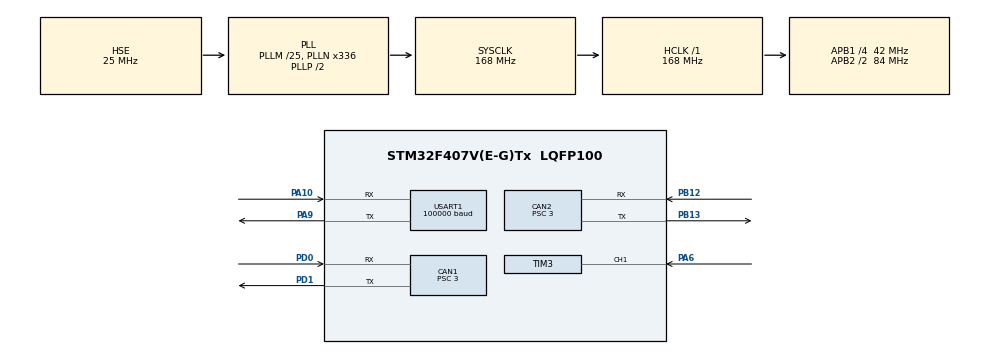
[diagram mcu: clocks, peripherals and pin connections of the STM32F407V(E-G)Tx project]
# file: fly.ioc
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CAN1.BS1=CAN_BS1_7TQ
CAN1.BS2=CAN_BS2_6TQ
CAN1.CalculateBaudRate=1000000
CAN1.CalculateTimeBit=1000
CAN1.CalculateTimeQuantum=71.42857142857143
CAN1.Prescaler=3
CAN2.BS1=CAN_BS1_7TQ
CAN2.BS2=CAN_BS2_6TQ
CAN2.CalculateBaudRate=1000000
CAN2.CalculateTimeBit=1000
CAN2.CalculateTimeQuantum=71.42857142857143
CAN2.Prescaler=3
Dma.Request0=USART1_RX
Dma.USART1_RX.0.Direction=DMA_PERIPH_TO_MEMORY
Dma.USART1_RX.0.FIFOMode=DMA_FIFOMODE_DISABLE
Dma.USART1_RX.0.Instance=DMA2_Stream5
Dma.USART1_RX.0.MemDataAlignment=DMA_MDATAALIGN_BYTE
Dma.USART1_RX.0.MemInc=DMA_MINC_ENABLE
Dma.USART1_RX.0.Mode=DMA_NORMAL
Dma.USART1_RX.0.PeriphDataAlignment=DMA_PDATAALIGN_BYTE
Dma.USART1_RX.0.PeriphInc=DMA_PINC_DISABLE
Dma.USART1_RX.0.Priority=DMA_PRIORITY_VERY_HIGH
FREERTOS.Tasks01=defaultTask,0,128,StartDefaultTask,Default,NULL,Dynamic,NULL,NULL;myTask02,-3,128,StartTask02,Default,NULL,Dynamic,NULL,NULL;myTask03,-3,128,StartTask03,Default,NULL,Dynamic,NULL,NULL;myTask04,-3,128,StartTask04,Default,NULL,Dynamic,NULL,NULL;myTask05,-3,128,StartTask05,Default,NULL,Dynamic,NULL,NULL
IWDG.Prescaler=IWDG_PRESCALER_32
IWDG.Reload=999
Mcu.Family=STM32F4
Mcu.Name=STM32F407V(E-G)Tx
Mcu.Package=LQFP100
NVIC.CAN1_RX0_IRQn=true\:5\:0\:false\:false\:true\:true\:true\:true\:true
NVIC.CAN1_RX1_IRQn=true\:5\:0\:false\:false\:true\:true\:true\:true\:true
NVIC.CAN1_SCE_IRQn=true\:5\:0\:false\:false\:true\:true\:true\:true\:true
NVIC.CAN1_TX_IRQn=true\:5\:0\:false\:false\:true\:true\:true\:true\:true
NVIC.CAN2_RX0_IRQn=true\:5\:0\:false\:false\:true\:true\:true\:true\:true
NVIC.CAN2_RX1_IRQn=true\:5\:0\:false\:false\:true\:true\:true\:true\:true
NVIC.CAN2_TX_IRQn=true\:5\:0\:false\:false\:true\:true\:true\:true\:true
NVIC.DMA2_Stream5_IRQn=true\:5\:0\:false\:false\:true\:false\:false\:true\:true
NVIC.PriorityGroup=NVIC_PRIORITYGROUP_4
NVIC.RCC_IRQn=true\:5\:0\:false\:false\:true\:true\:true\:false\:true
NVIC.TIM1_UP_TIM10_IRQn=true\:15\:0\:false\:false\:true\:false\:false\:true\:true
NVIC.TIM3_IRQn=true\:5\:0\:false\:false\:true\:true\:true\:true\:true
NVIC.TimeBase=TIM1_UP_TIM10_IRQn
NVIC.TimeBaseIP=TIM1
NVIC.USART1_IRQn=true\:5\:0\:false\:false\:true\:true\:true\:true\:true
PA10.Mode=Asynchronous
PA10.Signal=USART1_RX
PA13.Mode=Serial_Wire
PA13.Signal=SYS_JTMS-SWDIO
PA14.Mode=Serial_Wire
PA14.Signal=SYS_JTCK-SWCLK
PA6.Signal=S_TIM3_CH1
PA9.Mode=Asynchronous
PA9.Signal=USART1_TX
PB12.Mode=CAN_Activate
PB12.Signal=CAN2_RX
PB13.Mode=CAN_Activate
PB13.Signal=CAN2_TX
PD0.Mode=CAN_Activate
PD0.Signal=CAN1_RX
PD1.Mode=CAN_Activate
PD1.Signal=CAN1_TX
PH0-OSC_IN.Mode=HSE-External-Oscillator
PH0-OSC_IN.Signal=RCC_OSC_IN
PH1-OSC_OUT.Mode=HSE-External-Oscillator
PH1-OSC_OUT.Signal=RCC_OSC_OUT
ProjectManager.HeapSize=0x200
ProjectManager.StackSize=0x400
ProjectManager.TargetToolchain=MDK-ARM V5.32
RCC.48MHZClocksFreq_Value=84000000
RCC.AHBFreq_Value=168000000
RCC.APB1CLKDivider=RCC_HCLK_DIV4
RCC.APB1Freq_Value=42000000
RCC.APB1TimFreq_Value=84000000
RCC.APB2CLKDivider=RCC_HCLK_DIV2
RCC.APB2Freq_Value=84000000
RCC.APB2TimFreq_Value=168000000
RCC.CortexFreq_Value=168000000
RCC.HCLKFreq_Value=168000000
RCC.HSE_VALUE=25000000
RCC.HSI_VALUE=16000000
RCC.LSE_VALUE=32768
RCC.PLLM=25
RCC.PLLN=336
RCC.PLLSourceVirtual=RCC_PLLSOURCE_HSE
RCC.SYSCLKFreq_VALUE=168000000
RCC.SYSCLKSource=RCC_SYSCLKSOURCE_PLLCLK
RCC.VCOOutputFreq_Value=336000000
SH.S_TIM3_CH1.0=TIM3_CH1,Input_Capture1_from_TI1
TIM3.Channel-Input_Capture1_from_TI1=TIM_CHANNEL_1
TIM3.Prescaler=840-1
USART1.BaudRate=100000
USART1.Mode=MODE_RX
USART1.Parity=PARITY_EVEN
USART1.VirtualMode=VM_ASYNC
USART1.WordLength=WORDLENGTH_9B
VP_FREERTOS_VS_CMSIS_V1.Mode=CMSIS_V1
VP_IWDG_VS_IWDG.Mode=IWDG_Activate
VP_SYS_VS_tim1.Mode=TIM1
VP_TIM3_VS_ClockSourceINT.Mode=Internal
board=custom

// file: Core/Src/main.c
/* USER CODE BEGIN Header */
/**
  ******************************************************************************
  * @file           : main.c
  * @brief          : Main program body
  ******************************************************************************
  * @attention
  *
  * Copyright (c) 2025 STMicroelectronics.
  * All rights reserved.
  *
  * This software is licensed under terms that can be found in the LICENSE file
  * in the root directory of this software component.
  * If no LICENSE file comes with this software, it is provided AS-IS.
  *
  ******************************************************************************
  */
/* USER CODE END Header */
#include "main.h"
#include "cmsis_os.h"
#include "can.h"
#include "dma.h"
#include "iwdg.h"
#include "tim.h"
#include "usart.h"
#include "gpio.h"

/* USER CODE BEGIN Includes */
#include "math.h"
#include "string.h"
#include "cmsis_os.h"
#define GM3508_SPEED_GEAR1 200
#define GM3508_SPEED_GEAR2 200
#define DIANJI_ID  0x209
#define DIAN_ANGLE  90.0f
#define PID_LIMIT    4000
#define ANGLE_DEADZONE  3.0f      // 角度控制死区
#define SPEED_DEADZONE 7        // 速度控制死区
#define BLOCK 9000  // 堵转检测条件
#define CORRECT  0.5f   // 堵转纠正
#define TASK_HEARTBEAT_TIMEOUT_MS   2000    // 任务心跳超时时间(毫秒)
#define WATCHDOG_TASK_DELAY_MS      500     // 监视任务检查间隔
#define RC_CH0_MIN        364U         // ch0最小値
#define RC_CH0_MAX        1684U        // ch0最大値
#define RC_CH0_MID        1024U        // ch0中点値
#define RC_CH0_DEAD_ZONE  20U          // ch0死区
/* USER CODE END Includes */

/* USER CODE BEGIN PTD */
CAN_RxHeaderTypeDef RxMsg={0};
struct recept{

int16_t angle;
int16_t  speed ;
int16_t  i;
uint16_t temp ;

};
struct recept recept1={
  .angle=0,
	.speed=0,
	.i=0,
	.temp=0
};
struct recept recept2={
  .angle=0,
	.speed=0,
	.i=0,
	.temp=0
};
struct recept recept3={
  .angle=0,
	.speed=0,
	.i=0,
	.temp=0
};
typedef struct {
    // 基础参数
    float base_Kp;             // 基准比例增益
    float base_Ki;             // 基准积分增益
    float base_Kd;             // 基准微分增益

    // 速度区域边界 (RPM)
    float speed_low_threshold;   // 低速区上限 (500 RPM)
    float speed_mid_threshold;   // 中速区上限 (2000 RPM)
    float speed_high_threshold;  // 高速区上限 (5000 RPM)

    // 误差区域边界 (RPM)
    float error_small_threshold; // 小误差区上限 (100 RPM)
    float error_medium_threshold;// 中等误差区上限 (500 RPM)

    // 速度区域参数调整系数
    float low_speed_kp_factor;   // 低速区K
    float low_speed_ki_factor;
    float low_speed_kd_factor;

    float high_speed_kp_factor;  // 高速区
    float high_speed_ki_factor;
    float high_speed_kd_factor;

    float very_high_speed_kp_factor;  // 极高速区
    float very_high_speed_ki_factor;
    float very_high_speed_kd_factor;

    // 误差区域参数调整系数
    float large_error_kp_factor; // 大误差区Kp调整系数
    float large_error_ki_factor;
    float large_error_kd_factor;

    float small_error_kp_factor; // 小误差区调整系数
    float small_error_ki_factor;
    float small_error_kd_factor;

    // 参数平滑滤波
    float prev_Kp;
    float prev_Ki;
    float prev_Kd;
    float Kp;                // 当前比例增益
    float Ki;                // 当前积分增益
    float Kd;                // 当前微分增益
    float setpoint;          // 目标设定值
    float integral;          // 积分项
    float derivative;        // 微分项
    float output_limit;      // 输出限幅
    float prev_measured_value; // 上一周期测量值
    float dt;                // 控制周期（秒）
} PID_Controller_f;

typedef __packed struct {
    uint16_t ch0;  // 遥控器
    uint16_t ch1;
    uint16_t ch2;
	  uint16_t ch3;
    uint8_t  s1;
    uint8_t  s2;
	uint16_t roll;

} DBUS_RC_t;
typedef __packed struct {
    int16_t x;     // 鼠标X轴
    int16_t y;     // 鼠标Y轴
    int16_t z;     // 鼠标Z轴
    uint8_t press_l;// 鼠标左键
    uint8_t press_r;// 鼠标右键
} DBUS_Mouse_t;

typedef __packed struct {
    uint16_t v;    // 键盘按键值（Bit0=W, Bit1=S...Bit7=Ctrl）
} DBUS_Key_t;
int16_t output_gm6020=0;
int16_t output_m2006=0;

uint8_t rx_data[8]={0};
uint8_t  send_data[8]={0};
uint8_t rx_data2[8]={0};

DBUS_RC_t g_dbus_rc = {0};
DBUS_Mouse_t g_dbus_mouse = {0};            // 鼠标数据
DBUS_Key_t g_dbus_key = {0};

uint16_t gm6020_current_target_angle = (192 + 6557) / 2;
uint32_t rc_last_heartbeat = 0;  // 遥控器最后一次心跳时间

uint8_t rc_online_flag = 1;

uint8_t g_dbus_rx_buf[18] = {0};
uint8_t g_dbus_idx = 0;                 // DBUS缓冲索引
int16_t m2006_target_speed = 300;
int16_t m2006_max_speed = 1000;
uint8_t m2006_direction = 1; //方向

int16_t gm3508_motor1_output = 0; // 电机1输出
int16_t gm3508_motor2_output = 0; // 电机2输出
uint16_t gm3508_target_speed = 0;
typedef enum {
    TASK_ID_DEFAULT,
    TASK_ID_MYTASK02,
    TASK_ID_MYTASK03,
    TASK_ID_MAX
} TaskID;
typedef struct {
    TaskID id;
    const char* name;
    uint32_t last_heartbeat;
    uint32_t timeout_ms;
    uint8_t is_active;
} TaskMonitor;

typedef struct {
    float rin;        // 当前设定值
    float lastRin;    // 上一次设定值
    float perrRin;  	// 前两次设定值变化
    int init_count;//初始化转台
} FFC;

typedef struct
{
    float Kp;       // 比例系数
    float Ki;       // 积分系数
    float Kd;
    float Kf_a;
    float Kf_v;
    float setpoint; // 设定值
    float integral; // 积分项
	  float derivative;//
    float prev_error; // 上一次误差
	  float output_limit; // 输出限幅
	  float prev_prev_error;
	  float last_output;
	  float dt;        // 控制周期
   float prev_measured_value; // 存储上一测量值

	  FFC feedforward;
} PID_Controller;

PID_Controller pid_controller = {
	  .Kp = 46.0f,
    .Ki =1.8f,
    .Kd =1.0f,
	.Kf_a=0.05,
	.Kf_v=0.5,
    .setpoint = 10.0f,
    .integral = 0.0f,
    .prev_error = 0.0f,
	  .dt=0.001f,
	  .last_output=0.0,
	  .prev_prev_error=0.0f,

    .output_limit = 6000.0f};
PID_Controller angle_pid_controller = {
    .Kp =50.0f,
    .Ki = 3.0f,
    .Kd = 5.0f,
		.Kf_a=0.01,
	  .Kf_v=0.1,
    .setpoint =1000.0f,
    .integral = 0.0f,
    .prev_error = 0.0f,
	  .prev_prev_error=0.0f,
	.dt=0.001f,
	  .last_output=0.0,

    .output_limit =6000.0f // 输出限幅
};
PID_Controller current_pid = {
    .Kp =1.6f,
    .Ki = 0.02f,
    .Kd =1.0,
		.Kf_a=0.05,
    .Kf_v=0.5,
    .setpoint = 0.0f,
    .integral = 0.0f,
    .prev_error = 0.0f,
	  .prev_prev_error=0.0f,
	  .dt=0.001f,
	  .last_output=0.0,
    .output_limit = 6000.0f
};

PID_Controller pid_controller_m2006 = {
	  .Kp = 3.0f,
    .Ki =0.1f,
    .Kd =0.8,
	  .Kf_a=0.0,
	  .Kf_v=0.0,
    .setpoint = 100.0f,
    .integral = 0.0f,
    .prev_error = 0.0f,
	  .dt=0.001f,
	  .last_output=0.0,
	  .prev_prev_error=0.0f,

    .output_limit = 6000.0f};
PID_Controller current_pid_m2006 = {
    .Kp =2.0f,
    .Ki = 0.2f,
    .Kd =0.9f,
		.Kf_a=0.00,
    .Kf_v=0.0,
    .setpoint = 0.0f,
    .integral = 0.0f,
    .prev_error = 0.0f,
	  .prev_prev_error=0.0f,
	  .dt=0.001f,
	  .last_output=0.0,
    .output_limit = 6000.0f
};
PID_Controller gm3508_speed_pid = {
    .Kp = 8.0f,
    .Ki = 0.2f,
    .Kd = 0.5f,
    .setpoint = 0.0f,
    .integral = 0.0f,
    .prev_error = 0.0f,
    .output_limit = 6000.0,
    .dt = 0.001
};

PID_Controller gm3508_current_pid = {
    .Kp = 1.5f,
    .Ki = 0.05f,
    .Kd = 0.8f,
    .setpoint = 0.0f,
    .integral = 0.0f,
    .prev_error = 0.0f,
    .output_limit = 6000.0,
    .dt = 0.001
};
uint16_t mode=1;//0速度，1角度

uint8_t  send[8]={0};//can1,gm6020发送区
uint8_t  send2[8]={0};//can2,m2006发送区
uint8_t send3[8]={0};//3508发射区
uint8_t send4[8]={0};
// 状态：正常、堵转检测中、回退、恢复尝试
typedef enum {
    NORMAL,
   JAMMED,
   BACKOFF,
    RECOVERING
} MotorState;

MotorState motor_state =NORMAL;
uint32_t start_time = 0;
float back_angle = 100.0f;        // 回退角度（度）
float reangle = 100.0f;      // 恢复时尝试正转的角度
float raw_speed= 0;// 保存原始目标速度
float current_position = 0.0f;    // 当前位置
float start_position = 0.0f;      // 记录开始位置
uint8_t jam_recount = 0;   // 堵塞恢复尝试次数
uint8_t max= 3;      // 最多重试
float m2006_filtered_speed = 0.0f;
static TaskMonitor task_monitors[TASK_ID_MAX];

/* USER CODE END PTD */

/* USER CODE BEGIN PD */
void Watchdog_Init(void);
void Watchdog_Heartbeat(TaskID task_id);
void Watchdog_FeedHardware(void);
void StartWatchdogTask(void const * argument);
void Can_SendMsg(CAN_HandleTypeDef *hcan,uint32_t ID,uint8_t *data)
{
   uint32_t canTxMailbox;
	CAN_TxHeaderTypeDef CAN_TX;
	CAN_TX.DLC=8;
	CAN_TX.IDE=CAN_ID_STD;
	CAN_TX.RTR=CAN_RTR_DATA;
  CAN_TX.StdId=ID;

	if ((hcan->Instance->TSR&CAN_TSR_TME1)!=RESET){
	canTxMailbox=CAN_TX_MAILBOX1;
	}
	else if ((hcan->Instance->TSR&CAN_TSR_TME2)!=RESET){
		canTxMailbox=CAN_TX_MAILBOX2;
	}
	else if ((hcan->Instance->TSR&CAN_TSR_TME0)!=RESET){
		canTxMailbox=CAN_TX_MAILBOX0;
	}

	HAL_CAN_AddTxMessage(hcan,&CAN_TX,data,(uint32_t*)&canTxMailbox);

}
void CAN_Filter_Init(CAN_HandleTypeDef *hcan)
{

	 if (hcan->Instance == CAN1) {

		 CAN_FilterTypeDef FilterConfig;
        FilterConfig.FilterBank = 0;
        FilterConfig.FilterMode = CAN_FILTERMODE_IDMASK;
        FilterConfig.FilterScale = CAN_FILTERSCALE_32BIT;
        FilterConfig.FilterIdHigh = 0x0000;
        FilterConfig.FilterIdLow = 0x0000;
        FilterConfig.FilterMaskIdHigh = 0x0000;
        FilterConfig.FilterMaskIdLow = 0x0000;
        FilterConfig.FilterFIFOAssignment = CAN_FilterFIFO0;
        FilterConfig.FilterActivation = CAN_FILTER_ENABLE;
        FilterConfig.SlaveStartFilterBank = 14;
		 HAL_CAN_ConfigFilter(hcan, &FilterConfig);
    HAL_CAN_Start(hcan);
    } else if (hcan->Instance == CAN2) {
    CAN_FilterTypeDef FilterConfig2;
        FilterConfig2.FilterBank = 14;
        FilterConfig2.FilterMode = CAN_FILTERMODE_IDMASK;
        FilterConfig2.FilterScale = CAN_FILTERSCALE_32BIT;
        FilterConfig2.FilterIdHigh =0x0000 ;
        FilterConfig2.FilterIdLow = 0x0000;
        FilterConfig2.FilterMaskIdHigh = 0x0000;
        FilterConfig2.FilterMaskIdLow = 0x0000;
        FilterConfig2.FilterFIFOAssignment = CAN_FilterFIFO1;
        FilterConfig2.FilterActivation = CAN_FILTER_ENABLE;
        FilterConfig2.SlaveStartFilterBank = 14;
			HAL_CAN_ConfigFilter(hcan, &FilterConfig2);
    HAL_CAN_Start(hcan);
    }

}
void FFC_Init(FFC *ffc, float initial_setpoint) {
    ffc->rin = initial_setpoint;
    ffc->lastRin = initial_setpoint;
    ffc->perrRin = initial_setpoint;
    ffc->init_count = 0;
}
float fconstrain(float val, float min, float max) {
    return (val < min) ? min : (val > max) ? max : val;
}
float FeedforwardController(FFC *vFFC, float Kf_v, float Kf_a, float dt) {
    float result = 0.0f;
    if (vFFC->init_count < 1) {

        result = 0.0f;
    } else if (vFFC->init_count < 2) {

        result = Kf_v * (vFFC->rin - vFFC->lastRin) / dt;
    } else {
        // 使用完整前馈
        result = Kf_v * (vFFC->rin - vFFC->lastRin) / dt
               + Kf_a * (vFFC->rin - 2*vFFC->lastRin + vFFC->perrRin) / (dt*dt);
    }
    vFFC->perrRin = vFFC->lastRin;
    vFFC->lastRin = vFFC->rin;

    if (vFFC->init_count < 2) {
        vFFC->init_count++;
    }
    return result;
}

float error;
float output;
	float  angle_continuous=0;
float PID_Compute_local(PID_Controller *pid, float measured_value) //前馈位置
{       pid->feedforward.rin =pid->setpoint;
    float feedforward = FeedforwardController(
			&pid->feedforward,
		pid->Kf_v,
		pid->Kf_a,
		pid->dt);

	error = pid->setpoint - measured_value; // 计算误差

    if((mode == 1 && fabs(error) < ANGLE_DEADZONE) ||
       (mode == 0 && fabs(error) < SPEED_DEADZONE))
    {
        error = 0;
        pid->integral *= 0.99f; // 积分衰减
    }
    else
    {
        // 积分项计算与限幅

        pid->integral += error;

        if (pid->integral > pid->output_limit / pid->Ki)
            pid->integral = pid->output_limit / pid->Ki;
        else if (pid->integral < -pid->output_limit / pid->Ki)
            pid->integral = -pid->output_limit / pid->Ki;
    }

    pid->derivative = 0.7f * pid->derivative + 0.3f * (error - pid->prev_error);
   pid->prev_error = error;
    float output = pid->Kp * error +
                   pid->Ki * pid->integral +
                   pid->Kd * pid->derivative;

    // 输出限幅
    if(output > pid->output_limit)
        output = pid->output_limit;
    else if(output < -pid->output_limit)
        output = -pid->output_limit;
    return output;
	}
float PID_Compute_First(PID_Controller *pid, float measured_value) {
    float error = pid->setpoint - measured_value;

    // 计算测量值的变化率，核心
    float y_diff = measured_value - pid->prev_measured_value;
    pid->derivative = 0.7f * pid->derivative + 0.3f * y_diff;
//一节滤波，
    pid->prev_measured_value = measured_value;

    float proportional = pid->Kp * error;
    float derivative_term = -pid->Kd * pid->derivative; // 注意负号

    float output_without_integral = proportional + derivative_term;
    int should_integrate = 1;
    float saturation_threshold = pid->output_limit * 0.95f;

    // 检查是否达到输出限幅且误差方向同向
    if (output_without_integral >= saturation_threshold && error > 0) {
        should_integrate = 0;
    }
    else if (output_without_integral <= -saturation_threshold && error < 0) {
        should_integrate = 0;
    }

    if (should_integrate  != 0.0f) {

        pid->integral += error * pid->dt;
    } else {
        pid->integral += error * pid->dt * 0.2f;
    }
    float max_integral = pid->output_limit / (pid->Ki * 1.2f);
    if (pid->integral > max_integral)
        pid->integral = max_integral;
    else if (pid->integral < -max_integral)
        pid->integral = -max_integral;
//积分限制
    float output = proportional + (pid->Ki * pid->integral) +derivative_term;
    if(output > pid->output_limit)
        output = pid->output_limit;
    else if(output < -pid->output_limit)
        output = -pid->output_limit;

    return output;
}

	float PID_Compute_add(PID_Controller *pid, float measured_value) //增量
{
    float error = pid->setpoint - measured_value;
    if((mode == 1 && fabs(error) < ANGLE_DEADZONE) ||
       (mode == 0 && fabs(error) < SPEED_DEADZONE))
    {
        error = 0;

        pid->derivative = 0;
        pid->prev_error = 0;
        pid->prev_prev_error = 0;
        return pid->last_output; // 死区时保持上次输出
    }
    else{// 误差增量
    float delta_error = error - pid->prev_error;
    float delta_error2 = error - 2 * pid->prev_error + pid->prev_prev_error;
    pid->derivative = 0.7f * pid->derivative + 0.3f * delta_error;

    // 增量式PID公式：Δu = Kp*Δe + Ki*e + Kd*Δe2
    float delta_output = pid->Kp * delta_error +
                        pid->Ki * error +
                        pid->Kd * delta_error2;

    float output = pid->last_output + delta_output;
    if(output > pid->output_limit)
        output = pid->output_limit;
    else if(output < -pid->output_limit)
        output = -pid->output_limit;
    pid->prev_prev_error = pid->prev_error;
    pid->prev_error = error;
    pid->last_output = output;

    return output;}
}
float PID_Compute_full(PID_Controller *pid, float measured_value)
{ float error = pid->setpoint - measured_value;

    if((mode == 1 && fabs(error) < ANGLE_DEADZONE) ||
       (mode == 0 && fabs(error) < SPEED_DEADZONE))
    {
        error = 0;
        pid->integral *= 0.99f;
    }
    else
    {

          float error_diff = error - pid->prev_error;
    pid->derivative = 0.7f * pid->derivative + 0.3f * error_diff;
    pid->prev_error = error;
            float proportional = pid->Kp * error;
    float derivative_term = pid->Kd * pid->derivative;
		float 	output_without_integral=proportional + derivative_term;
        // 2. 判断是否需要削弱积分
        int should_integrate = 1;

        if (output_without_integral >= pid->output_limit && error > 0) {
            // 已达上限且误差为正
            should_integrate = 0;
        }
        else if (output_without_integral <= -pid->output_limit && error < 0) {
            // 已达下限且误差为负
            should_integrate = 0;
        }
        if (should_integrate) {
            // 正常积分
            pid->integral += error * pid->dt;
        }
        else {

            pid->integral += error * pid->dt * 0.2f; // 部分积分作用

        }
        float max_integral = pid->output_limit / pid->Ki;
        if (pid->integral > max_integral)
            pid->integral = max_integral;
        else if (pid->integral < -max_integral)
            pid->integral = -max_integral;
    }

    float output = pid->Kp * error +
                   pid->Ki * pid->integral +
                   pid->Kd * pid->derivative ;

    if(output > pid->output_limit)
        output = pid->output_limit;
    else if(output < -pid->output_limit)
        output = -pid->output_limit;

    return output;
}
 float calculate_transition_weight(float value, float lower_bound, float upper_bound) {
    if (value <= lower_bound) return 0.0f;
    if (value >= upper_bound) return 1.0f;

    // 在过渡区域内线性插值
    return (value - lower_bound) / (upper_bound - lower_bound);
}

float PID_Compute_SegmentedVS(PID_Controller_f *pid, float measured_value) {
    // 1. 计算误差
    float error = pid->setpoint - measured_value;
    float abs_error = fabsf(error);
    float abs_speed = fabsf(measured_value);
    // 重置当前参数为基准值
    float current_Kp = pid->base_Kp;
    float current_Ki = pid->base_Ki;
    float current_Kd = pid->base_Kd;

    // 定义过渡区域（边界±50 RPM）
    const float SPEED_TRANSITION = 50.0f;

    // 低速区判定 (0 - speed_low_threshold)
    if (abs_speed < pid->speed_low_threshold) {
        current_Kp *= pid->low_speed_kp_factor;
        current_Ki *= pid->low_speed_ki_factor;
        current_Kd *= pid->low_speed_kd_factor;
    }
    // 低速-中速过渡区
    else if (abs_speed < pid->speed_low_threshold + SPEED_TRANSITION) {
        float weight = calculate_transition_weight(
            abs_speed,
            pid->speed_low_threshold,
            pid->speed_low_threshold + SPEED_TRANSITION
        );

        // 线性插值
        current_Kp = pid->base_Kp * (
            pid->low_speed_kp_factor * (1.0f - weight) +
            weight
        );
        current_Ki = pid->base_Ki * (
            pid->low_speed_ki_factor * (1.0f - weight) +
            weight
        );
        current_Kd = pid->base_Kd * (
            pid->low_speed_kd_factor * (1.0f - weight) +
            weight
        );
    }
    // 中速区判定 (speed_low_threshold - speed_mid_threshold)
    else if (abs_speed < pid->speed_mid_threshold) {
        // 中速区使用基准参数（已初始化）
    }
    // 中速-高速过渡区
    else if (abs_speed < pid->speed_mid_threshold + SPEED_TRANSITION) {
        float weight = calculate_transition_weight(
            abs_speed,
            pid->speed_mid_threshold,
            pid->speed_mid_threshold + SPEED_TRANSITION
        );

        // 线性插值
        current_Kp = pid->base_Kp * (
            1.0f * (1.0f - weight) +
            pid->high_speed_kp_factor * weight
        );
        current_Ki = pid->base_Ki * (
            1.0f * (1.0f - weight) +
            pid->high_speed_ki_factor * weight
        );
        current_Kd = pid->base_Kd * (
            1.0f * (1.0f - weight) +
            pid->high_speed_kd_factor * weight
        );
    }
    // 高速区判定 (speed_mid_threshold - speed_high_threshold)
    else if (abs_speed < pid->speed_high_threshold) {
        current_Kp *= pid->high_speed_kp_factor;
        current_Ki *= pid->high_speed_ki_factor;
        current_Kd *= pid->high_speed_kd_factor;
    }
    // 高速-极高速过渡区
    else if (abs_speed < pid->speed_high_threshold + SPEED_TRANSITION) {
        float weight = calculate_transition_weight(
            abs_speed,
            pid->speed_high_threshold,
            pid->speed_high_threshold + SPEED_TRANSITION
        );

        // 线性插值
        current_Kp = pid->base_Kp * (
            pid->high_speed_kp_factor * (1.0f - weight) +
            pid->very_high_speed_kp_factor * weight
        );
        current_Ki = pid->base_Ki * (
            pid->high_speed_ki_factor * (1.0f - weight) +
            pid->very_high_speed_ki_factor * weight
        );
        current_Kd = pid->base_Kd * (
            pid->high_speed_kd_factor * (1.0f - weight) +
            pid->very_high_speed_kd_factor * weight
        );
    }
    // 极高速区判定 (> speed_high_threshold)
    else {
        current_Kp *= pid->very_high_speed_kp_factor;
        current_Ki *= pid->very_high_speed_ki_factor;
        current_Kd *= pid->very_high_speed_kd_factor;
    }

    // ===== 2. 基于误差的参数调整（叠加效果）=====
    const float ERROR_TRANSITION = 30.0f;

    // 大误差区判定 (> error_medium_threshold)
    if (abs_error > pid->error_medium_threshold) {
        current_Kp *= pid->large_error_kp_factor;
        current_Ki *= pid->large_error_ki_factor;
        current_Kd *= pid->large_error_kd_factor;
    }
    // 大-中误差过渡区
    else if (abs_error > pid->error_medium_threshold - ERROR_TRANSITION) {
        float weight = calculate_transition_weight(
            pid->error_medium_threshold - abs_error,
            0.0f,
            ERROR_TRANSITION
        );

        // 线性插值
        float kp_factor = pid->large_error_kp_factor * (1.0f - weight) + weight;
        float ki_factor = pid->large_error_ki_factor * (1.0f - weight) + weight;
        float kd_factor = pid->large_error_kd_factor * (1.0f - weight) + weight;

        current_Kp *= kp_factor;
        current_Ki *= ki_factor;
        current_Kd *= kd_factor;
    }
    // 中等误差区判定 (error_small_threshold - error_medium_threshold)
    else if (abs_error > pid->error_small_threshold) {
        // 中等误差区使用当前参数（已由速度区调整）
    }
    // 中-小误差过渡区
    else if (abs_error > pid->error_small_threshold - ERROR_TRANSITION) {
        float weight = calculate_transition_weight(
            pid->error_small_threshold - abs_error,
            0.0f,
            ERROR_TRANSITION
        );

        // 线性插值
        float kp_factor = 1.0f * (1.0f - weight) + pid->small_error_kp_factor * weight;
        float ki_factor = 1.0f * (1.0f - weight) + pid->small_error_ki_factor * weight;
        float kd_factor = 1.0f * (1.0f - weight) + pid->small_error_kd_factor * weight;

        current_Kp *= kp_factor;
        current_Ki *= ki_factor;
        current_Kd *= kd_factor;
    }
    // 小误差区判定 (< error_small_threshold)
    else {
        current_Kp *= pid->small_error_kp_factor;
        current_Ki *= pid->small_error_ki_factor;
        current_Kd *= pid->small_error_kd_factor;
    }

    // ===== 3. 参数平滑滤波（防止突变）=====
    const float FILTER_ALPHA = 0.85f; // 滤波系数，值越大越平滑
    pid->Kp = FILTER_ALPHA * pid->prev_Kp + (1.0f - FILTER_ALPHA) * current_Kp;
    pid->Ki = FILTER_ALPHA * pid->prev_Ki + (1.0f - FILTER_ALPHA) * current_Ki;
    pid->Kd = FILTER_ALPHA * pid->prev_Kd + (1.0f - FILTER_ALPHA) * current_Kd;

    // 更新上一次参数值
    pid->prev_Kp = pid->Kp;
    pid->prev_Ki = pid->Ki;
    pid->prev_Kd = pid->Kd;
    // ===== 核心：分段式变结构参数计算 END =====

    // 2. 微分先行核心计算
    float y_diff = measured_value - pid->prev_measured_value;
    pid->derivative = 0.7f * pid->derivative + 0.3f * y_diff;
    pid->prev_measured_value = measured_value;

    // 3. 遇限削弱积分处理
    float proportional = pid->Kp * error;
    float derivative_term = -pid->Kd * pid->derivative;

    // 计算无积分项的输出
    float output_without_integral = proportional + derivative_term;

    int should_integrate = 1;
    float saturation_threshold = pid->output_limit * 0.95f;

    // 检查是否达到输出限幅且误差方向会加剧饱和
    if (output_without_integral >= saturation_threshold && error > 0) {
        should_integrate = 0;
    } else if (output_without_integral <= -saturation_threshold && error < 0) {
        should_integrate = 0;
    }

    // 积分处理
    if (should_integrate && pid->Ki != 0.0f) {
        pid->integral += error * pid->dt;
    } else {
        // 遇限削弱
        pid->integral += error * pid->dt * 0.2f;
    }

    float max_integral = (pid->Ki != 0.0f) ?
                         pid->output_limit / (pid->Ki * 1.2f) : 0.0f;
    if (pid->integral > max_integral)
        pid->integral = max_integral;
    else if (pid->integral < -max_integral)
        pid->integral = -max_integral;

    float output = proportional +
                  (pid->Ki * pid->integral) +
                  derivative_term;
    if(output > pid->output_limit)
        output = pid->output_limit;
    else if(output < -pid->output_limit)
        output = -pid->output_limit;

    return output;
}

void HAL_CAN_RxFifo0MsgPendingCallback(CAN_HandleTypeDef *hcan)
{
if (hcan->Instance==CAN1)
{
     HAL_CAN_GetRxMessage(hcan,CAN_RX_FIFO0,&RxMsg,rx_data);

		switch(RxMsg.StdId){
		case 0x20A://can口接受gm6020

			recept1.angle=(rx_data[0]<<8)|rx_data[1];
		  recept1.speed = (rx_data[2] << 8) | rx_data[3];//
		 recept1.i=(rx_data[4] << 8) | rx_data[5];
		recept1.temp=rx_data[6];

		case 0x200:
			recept3.angle=(rx_data[0]<<8)|rx_data[1];
		  recept3.speed = (rx_data[2] << 8) | rx_data[3];//
		 recept3.i=(rx_data[4] << 8) | rx_data[5];

		}

}}
void HAL_CAN_RxFifo1MsgPendingCallback(CAN_HandleTypeDef *hcan)
{if (hcan->Instance==CAN2)
{
   HAL_CAN_GetRxMessage(hcan,CAN_RX_FIFO1,&RxMsg,rx_data2);
   switch(RxMsg.StdId){
		case 0x204://结合电调id，200+id

			recept2.angle=(rx_data2[0]<<8)|rx_data2[1];
		  recept2.speed = (rx_data2[2] << 8) | rx_data2[3];//
		 recept2.i=(rx_data2[4] << 8) | rx_data2[5];

   case 0x201:
   recept3.angle=(rx_data2[0]<<8)|rx_data2[1];
		  recept3.speed = (rx_data2[2] << 8) | rx_data2[3];//
		 recept3.i=(rx_data2[4] << 8) | rx_data2[5];

}
}
}
float check_jam(float setting_speed,float actual_speed,
                float actual_current,float current_angle,float dt) {
    uint32_t nows = HAL_GetTick();
     static uint32_t jam_detect_start = 0; // 新增：堵转检测计时
    static uint8_t jam_detected = 0;
    int is = ((fabsf(actual_speed) < 10) &&           // 几不动
                    (fabsf(actual_current) > 10000) &&         // 高电流
                    (fabsf(setting_speed) > 200));

    switch (motor_state) {
        case NORMAL:

            if (is) {
                if (jam_detected == 0) {
                    jam_detect_start = nows;
                    jam_detected = 1;
                }
                // 持续100ms以上才判定为真堵转
                if (nows - jam_detect_start > 100 && jam_recount < max) {
                    motor_state = JAMMED;
                    start_time = nows;
                    raw_speed= setting_speed;
                    jam_recount++;
                }
            } else {
                jam_detected = 0; // 清除检测标记
            }
            break;

        case JAMMED:
            motor_state = BACKOFF;
            start_time = nows;
            return -setting_speed * 0.4f;  // 反向退出
            break;

        case BACKOFF:

            if (nows - start_time < 200) {
                return -raw_speed* 0.5f;
            } else {
                motor_state = RECOVERING;
                start_time = nows;
                return raw_speed* 0.3f; // 尝试恢复正转
            }
            break;

        case RECOVERING:

            if (nows-start_time < 200) {
                return raw_speed * 0.3f;
            } else {
                motor_state =NORMAL;
            }
        default:
            break;
    }
// 返回setting速度
    return setting_speed;
}

void StartWatchdogTask(void const * argument)
{
    (void)argument;

    while (1)
    {
        uint32_t current_time = osKernelSysTick();
        uint8_t ok = 1;

        // 检查所有任务
        for (int i = 0; i < TASK_ID_MAX; i++)
        {
            if (!task_monitors[i].is_active)
                continue;

            uint32_t elapsed = current_time - task_monitors[i].last_heartbeat;

            // 考虑系统时间回绕
            if (elapsed > 0x7FFFFFFF)
            {
                elapsed = 0xFFFFFFFF - task_monitors[i].last_heartbeat + current_time;
            }

            // 检查是否超时
            if (elapsed > task_monitors[i].timeout_ms)
            {
                ok = 0;

            }
        }

        // 如果所有任务都正常，喂硬件看门狗
        if (ok) {
            Watchdog_FeedHardware();
        } else {
            // 如果有任务卡住，不喂狗，等待IWDG触发复位
            // 可以选择立即触发软复位
            // NVIC_SystemReset();
        }

        osDelay(WATCHDOG_TASK_DELAY_MS);
    }
}

void Watchdog_Init(void)
{
    // 初始化所有任务监控
    memset(task_monitors, 0, sizeof(task_monitors));

    // 配置各个任务
    task_monitors[TASK_ID_DEFAULT].id = TASK_ID_DEFAULT;
    task_monitors[TASK_ID_DEFAULT].name = "Default";
    task_monitors[TASK_ID_DEFAULT].timeout_ms = TASK_HEARTBEAT_TIMEOUT_MS;
    task_monitors[TASK_ID_DEFAULT].is_active = 1;

    task_monitors[TASK_ID_MYTASK02].id = TASK_ID_MYTASK02;
    task_monitors[TASK_ID_MYTASK02].name = "task2";
    task_monitors[TASK_ID_MYTASK02].timeout_ms = TASK_HEARTBEAT_TIMEOUT_MS;
    task_monitors[TASK_ID_MYTASK02].is_active = 1;

    task_monitors[TASK_ID_MYTASK03].id =TASK_ID_MYTASK03;
    task_monitors[TASK_ID_MYTASK03].name = "task3";
    task_monitors[TASK_ID_MYTASK03].timeout_ms = TASK_HEARTBEAT_TIMEOUT_MS;
    task_monitors[TASK_ID_MYTASK03].is_active = 1;

    // 记录当前时间作为初始心跳
    for (int i = 0; i < TASK_ID_MAX; i++) {
        if (task_monitors[i].is_active) {
            task_monitors[i].last_heartbeat = osKernelSysTick();
        }
    }

    // 创建监视任务
    osThreadDef(WatchdogTask, StartWatchdogTask, osPriorityAboveNormal, 0, 128);
    osThreadCreate(osThread(WatchdogTask), NULL);
}

// 任务心跳更新
void Watchdog_Heartbeat(TaskID task_id)
{
    if (task_id < TASK_ID_MAX && task_monitors[task_id].is_active) {
        task_monitors[task_id].last_heartbeat = osKernelSysTick();
    }
}

// 喂硬件看门狗
void Watchdog_FeedHardware(void)
{
    HAL_IWDG_Refresh(&hiwdg);
}

// 监视任务 - 检查所有任务心跳
float pre_angle=0;
float angleprocessing(int16_t angle2) {

    float current_angle = angle2 * 360.0f / 8192.0f;

    float diff = current_angle - pre_angle;
    if (diff > 180.0f) {
   diff-= 360.0f;
      //   angle_continuous-= 360.0f;

    } else if (diff < -180.0f) {
         diff+= 360.0f;
     //    angle_continuous+= 360.0f;
    }
  //   angle_continuous = angle_continuous - fmod(angle_continuous, 360.0f) + current_angle;
    pre_angle =  current_angle ;
		angle_continuous+= diff;
    return  angle_continuous;
	}
void DBUS_ParseData(uint8_t *pData) {
    if (pData == NULL) return;
    g_dbus_rc.ch0 = ((int16_t)pData[0] | ((int16_t)pData[1] << 8)) & 0x07FF;

    g_dbus_rc.ch1 = (((int16_t)pData[1] >> 3) | ((int16_t)pData[2] << 5)) & 0x07FF;
    g_dbus_rc.ch2 = (((int16_t)pData[2] >> 6) | ((int16_t)pData[3] << 2) | ((uint16_t)pData[4] << 10)) & 0x07FF;
    g_dbus_rc.ch3 = (((int16_t)pData[4] >> 1) | ((int16_t)pData[5]<<7)) & 0x07FF;
    g_dbus_rc.s1 = ((pData[5] >> 4) & 0x000C) >> 2;
    g_dbus_rc.s2 = ((pData[5] >> 4) & 0x0003);
     g_dbus_mouse.x = ((int16_t)pData[6]) | ((int16_t)pData[7] << 8);
    g_dbus_mouse.y = ((int16_t)pData[8]) | ((int16_t)pData[9] << 8);
    g_dbus_mouse.z = ((int16_t)pData[10]) | ((int16_t)pData[11] << 8);
    g_dbus_mouse.press_l = pData[12];
    g_dbus_mouse.press_r = pData[13];
    g_dbus_key.v = ((int16_t)pData[14]);
	g_dbus_rc.roll= ((int16_t)pData[16] | ((int16_t)pData[17] << 8)) & 0x07FF;

}

//（ch0正→角度增，ch0负→角度减）
uint16_t DBUS_Ch0_Map_to_GM6020_Angle(void) {
    uint16_t target_angle = 0;
    int32_t ch0_dev = (int32_t)g_dbus_rc.ch0 - RC_CH0_MID; // ch0相对于中点的偏差

    if (abs(ch0_dev) < RC_CH0_DEAD_ZONE) {

        target_angle =192;
    }

    else {
        // 公式：目标角度 = 角度中点 + 偏差比例 × 角度范围半宽
        float scale = (float)(6557 - 192) / (RC_CH0_MAX - RC_CH0_MID);
        target_angle = (uint16_t)(192 + ch0_dev * scale);
    }

    if (target_angle >6557)
			target_angle = 6557;
    if (target_angle < 192)
			target_angle = 192;

    return target_angle;
}

void   HAL_UARTEx_RxEventCallback(UART_HandleTypeDef *huart,uint16_t Size)
{if(huart->Instance==USART1){
	if(Size==18){

	 DBUS_ParseData(g_dbus_rx_buf);
          rc_last_heartbeat = HAL_GetTick();
  //  g_dbus_idx = (g_dbus_idx + 1) % 2;

 HAL_UARTEx_ReceiveToIdle_DMA(&huart1, g_dbus_rx_buf,18);
}
}
}

void HAL_UART_ErrorCallback(UART_HandleTypeDef *huart)
{
 HAL_UARTEx_ReceiveToIdle_DMA(&huart1, g_dbus_rx_buf,18);

}

// 遥控器状态监控任务 10ms检查一次
void StartRCWatchdogTask(void) {

        uint32_t current_time = HAL_GetTick();
	      uint32_t   elapsed;
          if (current_time >= rc_last_heartbeat) {
        elapsed = current_time - rc_last_heartbeat;
    } else {
        elapsed = (0xFFFFFFFF - rc_last_heartbeat) + current_time;
    }

    // 超时阈值设为100ms（可根据实际遥控器帧率调整）
    if (elapsed > 100) {
        rc_online_flag = 0; // 遥控器失联
    } else {
        rc_online_flag = 1; // 遥控器在线
    }

}

void send_can_gm6020()
{
	float current_i = (float)recept1.i;
		if (mode == 0){
//         measured_value = (float)recept1.speed;
        float current = PID_Compute_local(&pid_controller, (float)recept1.speed);
       //current= block1(active_pid, error, current);
        current_pid.setpoint = current;
       float pid_output= (int16_t)PID_Compute_local(&current_pid, (float)current_i);
      output_gm6020 =(int16_t)(pid_output);

			send[2] = (output_gm6020 >> 8) ;
     send[3] = (int8_t)output_gm6020 ;
//			send[0]=(2000>>8);
//			send[1]=(uint8_t)2000;
				Can_SendMsg(&hcan1, 0x2FF, send);
		}
        else if (mode == 1) {
						  if (rc_online_flag==0) {
        output_gm6020 = 0;
        memset(send, 0, 8);
        Can_SendMsg(&hcan1, 0x2FF, send);
        return;
    }
        // 2.1 ch0映射为GM6020目标角度
        uint16_t target_angle = DBUS_Ch0_Map_to_GM6020_Angle();
        // 2.2 角度环PID计算（目标=ch0角度，测量=反馈角度）
				uint16_t	target_angle1=angleprocessing(recept1.angle);
        angle_pid_controller.setpoint = (float)target_angle;
       float target_speed = PID_Compute_local(&angle_pid_controller, target_angle1);

        current_pid.setpoint = target_speed;
    float pid_output = PID_Compute_local(&current_pid, current_i);
    output_gm6020 = (int16_t)pid_output;

 	send[2] = (output_gm6020 >> 8) ;
      send[3] = (int8_t)output_gm6020 ;   // 低8位

    Can_SendMsg(&hcan1, 0x2FF, send);    }
}

void  send_can_m2006(){
	 if (!rc_online_flag) {
		   m2006_filtered_speed = 0.0f; // 失联时清零滤波
        pid_controller_m2006.integral = 0.0f; // 清零积分
        current_pid_m2006.integral = 0.0f;
        pid_controller_m2006.last_output = 0.0f; // 清零上次输出
        current_pid_m2006.last_output = 0.0f;
        output_m2006 = 0;
        memset(send2, 0, 8);
        Can_SendMsg(&hcan1, 0x200, send2);
        return;
    }
	float dt = 0.001f;

	    float current_i = (float)recept2.i;
	 int32_t roll_dev = (int32_t)g_dbus_rc.roll - RC_CH0_MID;
    float speed_ratio =(float) roll_dev / (float)(RC_CH0_MAX - RC_CH0_MID);
     if (abs(roll_dev) < RC_CH0_DEAD_ZONE) {
        roll_dev = 0;

        pid_controller_m2006.integral = 0.0f;
        current_pid_m2006.integral = 0.0f;
			   m2006_filtered_speed = 0.0f;
    }
		speed_ratio = fconstrain(speed_ratio, -1.0f, 1.0f);
		if(roll_dev >25)
				    pid_controller_m2006.setpoint =  m2006_target_speed;
		if(roll_dev <-25)
			pid_controller_m2006.setpoint = - m2006_target_speed;
		if(roll_dev<=25&&roll_dev>=-25){
				pid_controller_m2006.setpoint = 0;
		  pid_controller_m2006.integral = 0.0f; // 清零积分
        current_pid_m2006.integral = 0.0f;}
//speed_ratio * m2006_max_speed;
//		   m2006_filtered_speed = 0.1 * target_speed + (1 - 0.1) * m2006_filtered_speed;
//	    pid_controller_m2006.setpoint =  m2006_filtered_speed;
//float current_angle = ((float)recept2.angle * 360.0f / 8191.0f);
float setting= PID_Compute_add(&pid_controller_m2006, (float)recept2.speed);
float new_speed = check_jam(setting,(float)recept2.speed,(float)recept2.i,0.0f,dt );
current_pid_m2006.setpoint = new_speed;
float pid_output= (int16_t)PID_Compute_add(&current_pid_m2006, (float)current_i);
output_m2006 =(int16_t)(pid_output);
			send2[6] = (output_m2006 >> 8) ;
      send2[7] = (int8_t)output_m2006 ;
			Can_SendMsg(&hcan2, 0x200, send2);

}
void M2006init(int16_t target_speed, int16_t max_speed) {
    m2006_target_speed = target_speed;
    m2006_max_speed = max_speed;

}
//void  send1_can_gm3508(){
//
//    float current_i = (float)recept3.i;
//
//float current = PID_Compute_full(&pid_controller, (float)recept3.speed);
//        current_pid.setpoint = current;
//       float pid_output= (int16_t)PID_Compute_full(&current_pid, (float)current_i);
//int16_t output_gm3508 =-(int16_t)(pid_output);

//			send3[0] = (output_gm3508>> 8) ;
//     send3[1] = (int8_t)output_gm3508 ;
//				Can_SendMsg(&hcan1, 0x200, send3);
//		}
//void  send2_can_gm3508(){
//
//    float current_i = (float)recept3.i;
//
//float current = PID_Compute_full(&pid_controller, (float)recept3.speed);
//        current_pid.setpoint = current;
//       float pid_output= (int16_t)PID_Compute_full(&current_pid, (float)current_i);
//int16_t output2_gm3508  =(int16_t)(pid_output);

//			send4[0] = (output2_gm3508>> 8) ;
//     send4[1] = (int8_t)output2_gm3508  ;
//				Can_SendMsg(&hcan2, 0x200, send4);
//		}

void GM3508_Control(void)
{
    // 遥控器保护
    if (!rc_online_flag) {
        gm3508_target_speed = 0;
        gm3508_motor1_output = 0;
        gm3508_motor2_output = 0;
        gm3508_speed_pid.integral = 0;
        gm3508_current_pid.integral = 0;
        memset(send3, 0, 8);
        memset(send3, 0, 8);
        Can_SendMsg(&hcan1, 0x200, send3);
        Can_SendMsg(&hcan2, 0x201, send3);
    }

    // 2. 解析S1档位，设置目标速度
    switch(g_dbus_rc.s1) {
        case 1: // 低速运行
            gm3508_target_speed = GM3508_SPEED_GEAR1;
            break;
        case 2: // 停止
            gm3508_target_speed = 0;
            gm3508_speed_pid.integral = 0;
            gm3508_current_pid.integral = 0;
            break;
        case 3: // 高速运行
            gm3508_target_speed = GM3508_SPEED_GEAR2;
            break;
        default:
            gm3508_target_speed = 0;
            break;
    }

    gm3508_target_speed = (int16_t)fconstrain(gm3508_target_speed, - 2000, 2000);

    gm3508_speed_pid.setpoint = (float)gm3508_target_speed;
    float motor1_current_target = PID_Compute_full(&gm3508_speed_pid, (float)recept3.speed); // 速度环输出=电流内环目标
    gm3508_current_pid.setpoint = motor1_current_target;
    float motor1_pid_output = PID_Compute_full(&gm3508_current_pid, (float)recept3.i); // 电流内环计算
    gm3508_motor1_output = (int16_t)motor1_pid_output;
    gm3508_motor1_output = -gm3508_motor1_output; // 取反=顺时针旋转

    gm3508_speed_pid.setpoint = (float)gm3508_target_speed;
    float motor2_current_target = PID_Compute_full(&gm3508_speed_pid, (float)recept2.speed);
    gm3508_current_pid.setpoint = motor2_current_target;
    float motor2_pid_output = PID_Compute_full(&gm3508_current_pid, (float)recept2.i);
    gm3508_motor2_output = (int16_t)motor2_pid_output; // 正常=逆时针旋转

    send3[0] = (gm3508_motor1_output >> 8) ;
    send3[1] = (uint8_t)gm3508_motor1_output;
    send3[2] = (gm3508_motor2_output >> 8) ;
    send3[3] = (uint8_t)gm3508_motor2_output;

    // 7. 发送CAN指令
    Can_SendMsg(&hcan1, 0x200, send3);
    Can_SendMsg(&hcan2,0x201, send3);
}

/* USER CODE END PD */

void SystemClock_Config(void);
void MX_FREERTOS_Init(void);

int main(void)
{

  /* MCU Configuration--------------------------------------------------------*/

  /* Reset of all peripherals, Initializes the Flash interface and the Systick. */
  HAL_Init();

  /* Configure the system clock */
  SystemClock_Config();

  /* Initialize all configured peripherals */
  MX_GPIO_Init();
  MX_DMA_Init();
  MX_CAN1_Init();
  MX_CAN2_Init();
  MX_TIM3_Init();
  MX_IWDG_Init();
  MX_USART1_UART_Init();
  /* USER CODE BEGIN 2 */

 HAL_CAN_ActivateNotification(&hcan1, CAN_IT_RX_FIFO0_MSG_PENDING);
	CAN_Filter_Init(&hcan1);
 HAL_CAN_Start(&hcan1);

	 HAL_CAN_ActivateNotification(&hcan2, CAN_IT_RX_FIFO1_MSG_PENDING);
 CAN_Filter_Init(&hcan2);
 HAL_CAN_Start(&hcan2);
//__HAL_UART_ENABLE_IT(&huart1, UART_IT_RXNE);
//__HAL_UART_ENABLE_IT(&huart1, UART_IT_ERR);
HAL_UARTEx_ReceiveToIdle_DMA(&huart1, g_dbus_rx_buf, 18);
  rc_last_heartbeat = HAL_GetTick();
 Watchdog_Init();
  /* USER CODE END 2 */

  /* Call init function for freertos objects (in cmsis_os2.c) */
  MX_FREERTOS_Init();

  /* Start scheduler */
  osKernelStart();

  /* We should never get here as control is now taken by the scheduler */

  /* Infinite loop */
  while (1)
  {

  }
}

void SystemClock_Config(void)
{
  RCC_OscInitTypeDef RCC_OscInitStruct = {0};
  RCC_ClkInitTypeDef RCC_ClkInitStruct = {0};

  /** Configure the main internal regulator output voltage
  */
  __HAL_RCC_PWR_CLK_ENABLE();
  __HAL_PWR_VOLTAGESCALING_CONFIG(PWR_REGULATOR_VOLTAGE_SCALE1);

  /** Initializes the RCC Oscillators according to the specified parameters
  * in the RCC_OscInitTypeDef structure.
  */
  RCC_OscInitStruct.OscillatorType = RCC_OSCILLATORTYPE_LSI|RCC_OSCILLATORTYPE_HSE;
  RCC_OscInitStruct.HSEState = RCC_HSE_ON;
  RCC_OscInitStruct.LSIState = RCC_LSI_ON;
  RCC_OscInitStruct.PLL.PLLState = RCC_PLL_ON;
  RCC_OscInitStruct.PLL.PLLSource = RCC_PLLSOURCE_HSE;
  RCC_OscInitStruct.PLL.PLLM = 25;
  RCC_OscInitStruct.PLL.PLLN = 336;
  RCC_OscInitStruct.PLL.PLLP = RCC_PLLP_DIV2;
  RCC_OscInitStruct.PLL.PLLQ = 4;
  if (HAL_RCC_OscConfig(&RCC_OscInitStruct) != HAL_OK)
  {
    Error_Handler();
  }

  /** Initializes the CPU, AHB and APB buses clocks
  */
  RCC_ClkInitStruct.ClockType = RCC_CLOCKTYPE_HCLK|RCC_CLOCKTYPE_SYSCLK
                              |RCC_CLOCKTYPE_PCLK1|RCC_CLOCKTYPE_PCLK2;
  RCC_ClkInitStruct.SYSCLKSource = RCC_SYSCLKSOURCE_PLLCLK;
  RCC_ClkInitStruct.AHBCLKDivider = RCC_SYSCLK_DIV1;
  RCC_ClkInitStruct.APB1CLKDivider = RCC_HCLK_DIV4;
  RCC_ClkInitStruct.APB2CLKDivider = RCC_HCLK_DIV2;

  if (HAL_RCC_ClockConfig(&RCC_ClkInitStruct, FLASH_LATENCY_5) != HAL_OK)
  {
    Error_Handler();
  }
}

void HAL_TIM_PeriodElapsedCallback(TIM_HandleTypeDef *htim)
{
  if (htim->Instance == TIM1)
  {
    HAL_IncTick();
  }
}

void Error_Handler(void)
{
  __disable_irq();
  while (1)
  {
  }
}

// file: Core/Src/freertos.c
/* USER CODE BEGIN Header */
/**
  ******************************************************************************
  * File Name          : freertos.c
  * Description        : Code for freertos applications
  ******************************************************************************
  * @attention
  *
  * Copyright (c) 2025 STMicroelectronics.
  * All rights reserved.
  *
  * This software is licensed under terms that can be found in the LICENSE file
  * in the root directory of this software component.
  * If no LICENSE file comes with this software, it is provided AS-IS.
  *
  ******************************************************************************
  */
/* USER CODE END Header */

#include "FreeRTOS.h"
#include "task.h"
#include "main.h"
#include "cmsis_os.h"

/* USER CODE BEGIN Includes */
#include "can.h"
/* USER CODE END Includes */

/* USER CODE BEGIN PTD */
extern uint8_t rx_data[8];
struct recept{

int16_t angle;
int16_t  speed ;
int16_t  i;
uint16_t temp ;

};
extern uint8_t  send[8];
extern uint32_t rc_last_heartbeat;
extern uint8_t rc_online_flag;
extern struct recept recept2;
extern struct recept recept1;
typedef struct {
    float rin;        // 当前设定值
    float lastRin;    // 上一次设定值
    float perrRin;  	// 前两次设定值变化
    int init_count;//初始化转台
} FFC;
typedef enum {
    TASK_ID_DEFAULT,
    TASK_ID_MYTASK02,
    TASK_ID_MYTASK03,
    TASK_ID_MAX
} TaskID;
typedef struct {
    TaskID id;
    const char* name;
    uint32_t last_heartbeat;
    uint32_t timeout_ms;
    uint8_t is_active;
} TaskMonitor;
typedef struct
{
    float Kp;       // 比例系数
    float Ki;       // 积分系数
    float Kd;
    float Kf_a;
    float Kf_v;
    float setpoint; // 设定值
    float integral; // 积分项
	  float derivative;//
    float prev_error; // 上一次误差
	  float output_limit; // 输出限幅
	  float prev_prev_error;
	  float last_output;
	  float dt;              // 控制周期（秒）
	  FFC feedforward;
} PID_Controller;
extern PID_Controller pid_controller;
extern PID_Controller angle_pid_controller;
 extern PID_Controller current_pid;
/* USER CODE END PTD */

osThreadId defaultTaskHandle;
osThreadId myTask02Handle;
osThreadId myTask03Handle;
osThreadId myTask04Handle;
osThreadId myTask05Handle;

/* USER CODE BEGIN FunctionPrototypes */

void Watchdog_Init(void);
void Watchdog_Heartbeat(TaskID task_id);
void Watchdog_FeedHardware(void);
void StartWatchdogTask(void const * argument);
void Can_SendMsg(CAN_HandleTypeDef *hcan,uint32_t ID,uint8_t *data);
void CAN_Filter_Init(CAN_HandleTypeDef *hcan);
void FFC_Init(FFC *ffc, float initial_setpoint) ;
void send_can_gm6020();
void  send_can_m2006();
void  send2_can_gm3508();
void  send1_can_gm3508();
void M2006init(int16_t target_speed, int16_t max_speed);

void StartRCWatchdogTask(void);

/* USER CODE END FunctionPrototypes */

void StartDefaultTask(void const * argument);
void StartTask02(void const * argument);
void StartTask03(void const * argument);
void StartTask04(void const * argument);
void StartTask05(void const * argument);

void MX_FREERTOS_Init(void); /* (MISRA C 2004 rule 8.1) */

/* GetIdleTaskMemory prototype (linked to static allocation support) */
void vApplicationGetIdleTaskMemory( StaticTask_t **ppxIdleTaskTCBBuffer, StackType_t **ppxIdleTaskStackBuffer, uint32_t *pulIdleTaskStackSize );

/* USER CODE BEGIN GET_IDLE_TASK_MEMORY */
static StaticTask_t xIdleTaskTCBBuffer;
static StackType_t xIdleStack[configMINIMAL_STACK_SIZE];

void vApplicationGetIdleTaskMemory( StaticTask_t **ppxIdleTaskTCBBuffer, StackType_t **ppxIdleTaskStackBuffer, uint32_t *pulIdleTaskStackSize )
{
  *ppxIdleTaskTCBBuffer = &xIdleTaskTCBBuffer;
  *ppxIdleTaskStackBuffer = &xIdleStack[0];
  *pulIdleTaskStackSize = configMINIMAL_STACK_SIZE;
  /* place for user code */
}
/* USER CODE END GET_IDLE_TASK_MEMORY */

void MX_FREERTOS_Init(void) {

  /* Create the thread(s) */
  /* definition and creation of defaultTask */
  osThreadDef(defaultTask, StartDefaultTask, osPriorityNormal, 0, 128);
  defaultTaskHandle = osThreadCreate(osThread(defaultTask), NULL);

  /* definition and creation of myTask02 */
  osThreadDef(myTask02, StartTask02, osPriorityIdle, 0, 128);
  myTask02Handle = osThreadCreate(osThread(myTask02), NULL);

  /* definition and creation of myTask03 */
  osThreadDef(myTask03, StartTask03, osPriorityIdle, 0, 128);
  myTask03Handle = osThreadCreate(osThread(myTask03), NULL);

  /* definition and creation of myTask04 */
  osThreadDef(myTask04, StartTask04, osPriorityIdle, 0, 128);
  myTask04Handle = osThreadCreate(osThread(myTask04), NULL);

  /* definition and creation of myTask05 */
  osThreadDef(myTask05, StartTask05, osPriorityIdle, 0, 128);
  myTask05Handle = osThreadCreate(osThread(myTask05), NULL);

}

void StartDefaultTask(void const * argument)
{
  /* USER CODE BEGIN StartDefaultTask */
  /* Infinite loop */
  for(;;)
  {
     Watchdog_Heartbeat(TASK_ID_DEFAULT);
        osDelay(10);
  }
  /* USER CODE END StartDefaultTask */
}

void StartTask02(void const * argument)
{
  /* USER CODE BEGIN StartTask02 */
  /* Infinite loop */
  for(;;)
  {send_can_gm6020();
   send1_can_gm3508();
		 Watchdog_Heartbeat(TASK_ID_MYTASK02);
    osDelay(10);

  }
  /* USER CODE END StartTask02 */
}

void StartTask03(void const * argument)
{
  /* USER CODE BEGIN StartTask03 */
  /* Infinite loop */
  for(;;)
  {  send2_can_gm3508();

		 M2006init(300,380);
		send_can_m2006();
	 Watchdog_Heartbeat(TASK_ID_MYTASK03);
    osDelay(10);
  }
  /* USER CODE END StartTask03 */
}

void StartTask04(void const * argument)
{
  /* USER CODE BEGIN StartTask04 */
  /* Infinite loop */
  for(;;)
  {
   StartRCWatchdogTask();
    osDelay(10);
  }
  /* USER CODE END StartTask04 */
}

void StartTask05(void const * argument)
{
  for(;;)
  {
    osDelay(1);
  }
}
